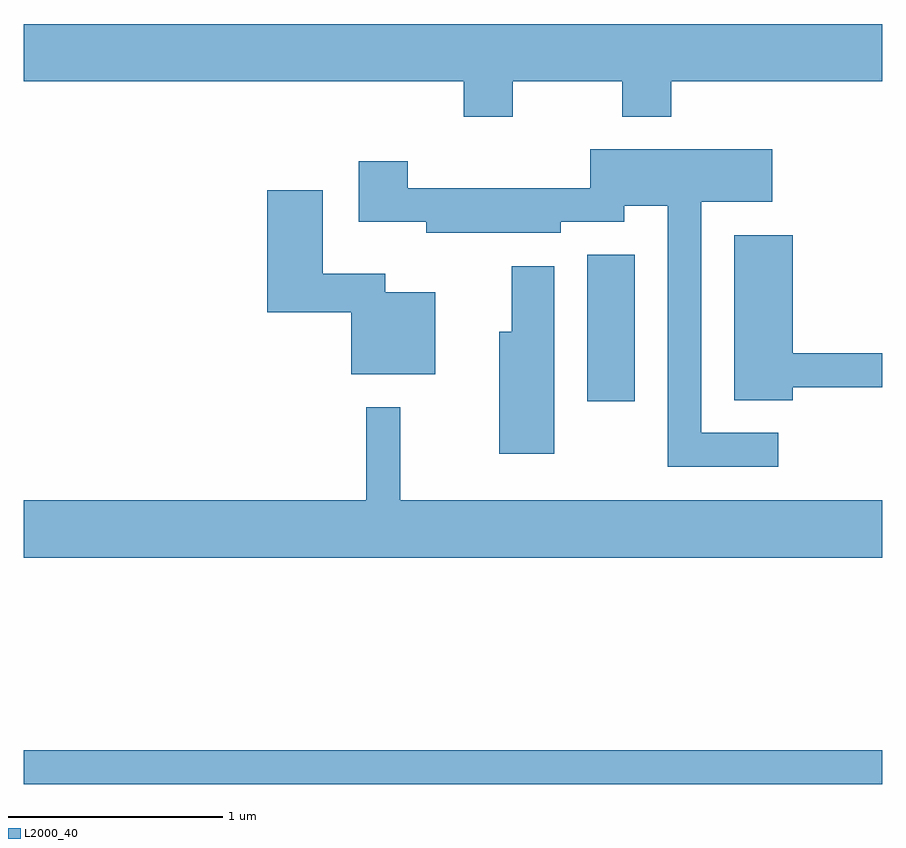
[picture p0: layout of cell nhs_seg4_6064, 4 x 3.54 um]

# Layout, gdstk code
import gdstk
lib = gdstk.Library(unit=1e-6, precision=1e-09)
def R(c, l, rs):  # rectangles x0, y0, x1, y1
    for r in rs: c.add(gdstk.rectangle(r[:2], r[2:], *l))
def P(c, l, *ps):  # polygons
    for p in ps: c.add(gdstk.Polygon(p, *l))
L2000_40 = (2000, 40)

nhs_seg4_6064 = lib.new_cell('nhs_seg4_6064')
R(nhs_seg4_6064, L2000_40, [(363.611,1278.141,367.611,1278.299), (366.236,1279.926,366.459,1280.609)])
P(nhs_seg4_6064, L2000_40, [(365.889,1281.416),(366.401,1281.416),(366.401,1281.251),(366.629,1281.251),(366.629,1281.416),(367.611,1281.416),(367.611,1281.684),(363.611,1281.684),(363.611,1281.416),(365.661,1281.416),(365.661,1281.251),(365.889,1281.251)],
  [(367.128,1279.779),(366.769,1279.779),(366.769,1280.856),(367.099,1280.856),(367.099,1281.099),(366.251,1281.099),(366.251,1280.919),(365.399,1280.919),(365.399,1281.044),(365.171,1281.044),(365.171,1280.761),(365.486,1280.761),(365.486,1280.711),(366.114,1280.711),(366.114,1280.761),(366.409,1280.761),(366.409,1280.836),(366.611,1280.836),(366.611,1279.621),(367.128,1279.621)],
  [(365.529,1280.434),(365.294,1280.434),(365.294,1280.519),(365.004,1280.519),(365.004,1280.909),(364.746,1280.909),(364.746,1280.341),(365.136,1280.341),(365.136,1280.051),(365.529,1280.051)],
  [(367.194,1279.991),(367.611,1279.991),(367.611,1280.149),(367.194,1280.149),(367.194,1280.699),(366.921,1280.699),(366.921,1279.931),(367.194,1279.931)],
  [(366.084,1280.554),(365.886,1280.554),(365.886,1280.249),(365.826,1280.249),(365.826,1279.681),(366.084,1279.681)],
  [(367.611,1279.464),(365.364,1279.464),(365.364,1279.898),(365.206,1279.898),(365.206,1279.464),(363.611,1279.464),(363.611,1279.196),(367.611,1279.196)])

lib.write_gds('nhs_seg4_6064.gds')
